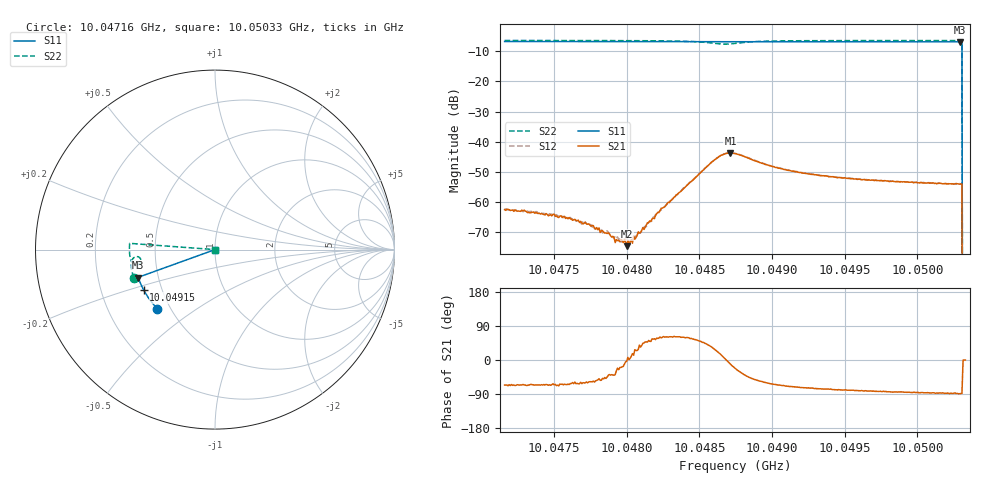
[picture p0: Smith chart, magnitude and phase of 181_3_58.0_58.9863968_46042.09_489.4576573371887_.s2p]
#  HZ  S  RI  R  50.00
! Rohde & Schwarz Vector Network Analyzer
! Rohde-Schwarz,ZNB20-2Port,1311601062101988,3.16
! Created: UTC 3/21/2024, 12:58:21 AM
! freq[Hz]  re:S11  im:S11  re:S21  im:S21  re:S12  im:S12  re:S22  im:S22
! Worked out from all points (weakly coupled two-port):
!   401 points, 10.04716 GHz to 10.05033 GHz, reference 50 ohm
!   highest |S21| = -43.70 dB at 10.04871 GHz (marker M1); lowest = -74.6 dB at 10.048 GHz (marker M2)
!   lowest |S11| = -6.8 dB at 10.05029 GHz (marker M3), VSWR 2.67, Z = 19.2 - j7.54 ohm
!   |S11| at or under -10 dB: 10.05031 GHz to end of sweep
!   |S22| runs from - to -6.4 dB; largest |S21 - S12| = 0.00044
!   S11 on the Smith chart (normalised r, x): 10.04716 GHz: 0.43, -0.36; 10.04915 GHz: 0.40, -0.22; 10.05033 GHz: 1.00, +0.00
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1.0047159e10  -0.3205 -0.3304  0.000302 -0.000684  0.000349 -0.000692  -0.4528 -0.1566
1.0047294e10  -0.3267 -0.3238  0.000301 -0.00067  0.000331 -0.00063  -0.4555 -0.1478
1.0047516e10  -0.3366 -0.313  0.000226 -0.000544  0.000302 -0.000541  -0.4598 -0.1325
1.0047627e10  -0.3415 -0.3074  0.000253 -0.000431  0.000282 -0.000446  -0.4614 -0.1246
1.004769e10  -0.3441 -0.3042  0.000211 -0.000401  0.000238 -0.000356  -0.4624 -0.12
1.0047753e10  -0.3468 -0.3008  0.000215 -0.000336  0.000249 -0.000338  -0.4634 -0.1154
1.0047872e10  -0.3518 -0.2946  0.000236 -0.0002  0.000243 -0.000206  -0.4647 -0.1064
1.0047896e10  -0.3527 -0.2934  0.000205 -0.000164  0.000228 -0.000158  -0.4651 -0.1045
1.0047936e10  -0.3543 -0.2914  0.000214 -8.41e-05  0.000244 -0.000103  -0.4654 -0.1012
1.0047999e10  -0.3569 -0.2879  0.000185 -1.08e-05  0.000209 1.08e-05  -0.4659 -0.0965
1.0048047e10  -0.3587 -0.2854  0.000268 6.09e-05  0.000218 0.000101  -0.4663 -0.0925
1.0048221e10  -0.3656 -0.2763  0.000362 0.000576  0.000311 0.000588  -0.4662 -0.0766
1.0048594e10  -0.3789 -0.2555  0.00409 0.00247  0.00396 0.00274  -0.4302 -0.0395
1.0048657e10  -0.381 -0.2521  0.00597 0.00109  0.00593 0.00149  -0.4146 -0.0518
1.0048713e10  -0.3828 -0.2491  0.00641 -0.00122  0.00651 -0.000827  -0.4141 -0.0711
1.0048745e10  -0.3839 -0.2477  0.0059 -0.00239  0.00609 -0.00201  -0.4205 -0.0796
1.0048967e10  -0.3916 -0.2352  0.00202 -0.0036  0.00224 -0.00352  -0.4614 -0.0715
1.0049149e10  -0.3975 -0.2245  0.00108 -0.00307  0.00125 -0.00298  -0.4706 -0.0527
1.0049276e10  -0.4014 -0.2172  0.000789 -0.00277  0.000942 -0.00274  -0.4733 -0.0413
1.0049807e10  -0.4162 -0.1853  0.000235 -0.00218  0.000385 -0.0022  -0.4766 -0.000191
1.0050291e10  -0.4272 -0.1555  3.69e-05 -0.00198  0.000182 -0.00202  -0.4754 0.0338
1.0050331e10  0 0  0 0  0 0  0 0
